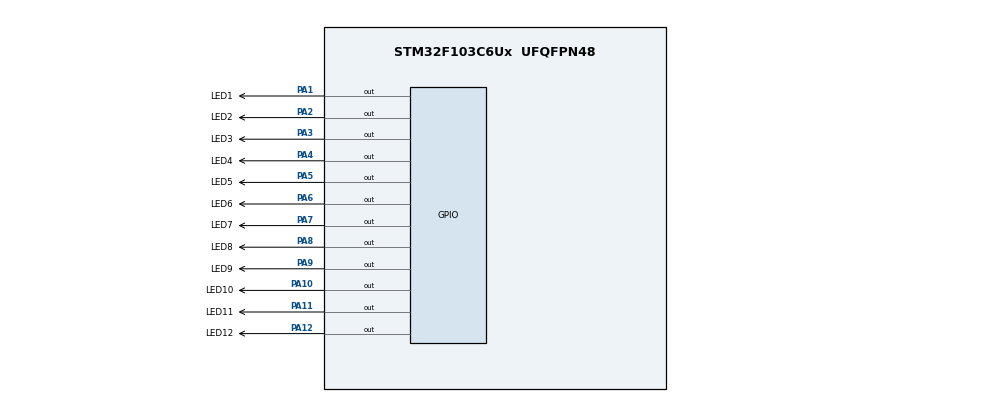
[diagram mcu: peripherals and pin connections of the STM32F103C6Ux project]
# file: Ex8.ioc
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Mcu.Family=STM32F1
Mcu.Name=STM32F103C6Ux
Mcu.Package=UFQFPN48
NVIC.PriorityGroup=NVIC_PRIORITYGROUP_4
PA1.GPIO_Label=LED1
PA1.Signal=GPIO_Output
PA10.GPIO_Label=LED10
PA10.Signal=GPIO_Output
PA11.GPIO_Label=LED11
PA11.Signal=GPIO_Output
PA12.GPIO_Label=LED12
PA12.Signal=GPIO_Output
PA2.GPIO_Label=LED2
PA2.Signal=GPIO_Output
PA3.GPIO_Label=LED3
PA3.Signal=GPIO_Output
PA4.GPIO_Label=LED4
PA4.Signal=GPIO_Output
PA5.GPIO_Label=LED5
PA5.Signal=GPIO_Output
PA6.GPIO_Label=LED6
PA6.Signal=GPIO_Output
PA7.GPIO_Label=LED7
PA7.Signal=GPIO_Output
PA8.GPIO_Label=LED8
PA8.Signal=GPIO_Output
PA9.GPIO_Label=LED9
PA9.Signal=GPIO_Output
ProjectManager.HeapSize=0x200
ProjectManager.StackSize=0x400
ProjectManager.TargetToolchain=STM32CubeIDE
RCC.APB1Freq_Value=8000000
RCC.APB2Freq_Value=8000000
VP_SYS_VS_ND.Mode=No_Debug
board=custom

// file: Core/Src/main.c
/* USER CODE BEGIN Header */
/**
  ******************************************************************************
  * @file           : main.c
  * @brief          : Main program body
  ******************************************************************************
  * @attention
  *
  * <h2><center>&copy; Copyright (c) 2023 STMicroelectronics.
  * All rights reserved.</center></h2>
  *
  * This software component is licensed by ST under BSD 3-Clause license,
  * the "License"; You may not use this file except in compliance with the
  * License. You may obtain a copy of the License at:
  *                        opensource.org/licenses/BSD-3-Clause
  *
  ******************************************************************************
  */
/* USER CODE END Header */
#include "main.h"

void SystemClock_Config(void);
static void MX_GPIO_Init(void);

/* USER CODE BEGIN 0 */
void setNumberOnClock(int num){
	switch(num){
	case 1:
		HAL_GPIO_WritePin(LED1_GPIO_Port, LED1_Pin, 1);
		break;
	case 2:
		HAL_GPIO_WritePin(LED2_GPIO_Port, LED2_Pin, 1);
		break;
	case 3:
		HAL_GPIO_WritePin(LED3_GPIO_Port, LED3_Pin, 1);
		break;
	case 4:
		HAL_GPIO_WritePin(LED4_GPIO_Port, LED4_Pin, 1);
		break;
	case 5:
		HAL_GPIO_WritePin(LED5_GPIO_Port, LED5_Pin, 1);
		break;
	case 6:
		HAL_GPIO_WritePin(LED6_GPIO_Port, LED6_Pin, 1);
		break;
	case 7:
		HAL_GPIO_WritePin(LED7_GPIO_Port, LED7_Pin, 1);
		break;
	case 8:
		HAL_GPIO_WritePin(LED8_GPIO_Port, LED8_Pin, 1);
		break;
	case 9:
		HAL_GPIO_WritePin(LED9_GPIO_Port, LED9_Pin, 1);
		break;
	case 10:
		HAL_GPIO_WritePin(LED10_GPIO_Port, LED10_Pin, 1);
		break;
	case 11:
		HAL_GPIO_WritePin(LED11_GPIO_Port, LED11_Pin, 1);
		break;
	case 0:
		HAL_GPIO_WritePin(LED12_GPIO_Port, LED12_Pin, 1);
		break;
	}
}
/* USER CODE END 0 */

int main(void)
{

  /* MCU Configuration--------------------------------------------------------*/

  /* Reset of all peripherals, Initializes the Flash interface and the Systick. */
  HAL_Init();

  /* Configure the system clock */
  SystemClock_Config();

  /* Initialize all configured peripherals */
  MX_GPIO_Init();

  /* Infinite loop */
  /* USER CODE BEGIN WHILE */
  int t = 3;
  while (1)
  {
	  if(t==0){
	  setNumberOnClock(3); // test ham
	  setNumberOnClock(8);
	  setNumberOnClock(0);
	  }
	  t--;
	  HAL_Delay(1000);
    /* USER CODE END WHILE */

  }
}

void SystemClock_Config(void)
{
  RCC_OscInitTypeDef RCC_OscInitStruct = {0};
  RCC_ClkInitTypeDef RCC_ClkInitStruct = {0};

  /** Initializes the RCC Oscillators according to the specified parameters
  * in the RCC_OscInitTypeDef structure.
  */
  RCC_OscInitStruct.OscillatorType = RCC_OSCILLATORTYPE_HSI;
  RCC_OscInitStruct.HSIState = RCC_HSI_ON;
  RCC_OscInitStruct.HSICalibrationValue = RCC_HSICALIBRATION_DEFAULT;
  RCC_OscInitStruct.PLL.PLLState = RCC_PLL_NONE;
  if (HAL_RCC_OscConfig(&RCC_OscInitStruct) != HAL_OK)
  {
    Error_Handler();
  }
  /** Initializes the CPU, AHB and APB buses clocks
  */
  RCC_ClkInitStruct.ClockType = RCC_CLOCKTYPE_HCLK|RCC_CLOCKTYPE_SYSCLK
                              |RCC_CLOCKTYPE_PCLK1|RCC_CLOCKTYPE_PCLK2;
  RCC_ClkInitStruct.SYSCLKSource = RCC_SYSCLKSOURCE_HSI;
  RCC_ClkInitStruct.AHBCLKDivider = RCC_SYSCLK_DIV1;
  RCC_ClkInitStruct.APB1CLKDivider = RCC_HCLK_DIV1;
  RCC_ClkInitStruct.APB2CLKDivider = RCC_HCLK_DIV1;

  if (HAL_RCC_ClockConfig(&RCC_ClkInitStruct, FLASH_LATENCY_0) != HAL_OK)
  {
    Error_Handler();
  }
}

static void MX_GPIO_Init(void)
{
  GPIO_InitTypeDef GPIO_InitStruct = {0};

  /* GPIO Ports Clock Enable */
  __HAL_RCC_GPIOA_CLK_ENABLE();

  /*Configure GPIO pin Output Level */
  HAL_GPIO_WritePin(GPIOA, LED1_Pin|LED2_Pin|LED3_Pin|LED4_Pin
                          |LED5_Pin|LED6_Pin|LED7_Pin|LED8_Pin
                          |LED9_Pin|LED10_Pin|LED11_Pin|LED12_Pin, GPIO_PIN_RESET);

  /*Configure GPIO pins : LED1_Pin LED2_Pin LED3_Pin LED4_Pin
                           LED5_Pin LED6_Pin LED7_Pin LED8_Pin
                           LED9_Pin LED10_Pin LED11_Pin LED12_Pin */
  GPIO_InitStruct.Pin = LED1_Pin|LED2_Pin|LED3_Pin|LED4_Pin
                          |LED5_Pin|LED6_Pin|LED7_Pin|LED8_Pin
                          |LED9_Pin|LED10_Pin|LED11_Pin|LED12_Pin;
  GPIO_InitStruct.Mode = GPIO_MODE_OUTPUT_PP;
  GPIO_InitStruct.Pull = GPIO_NOPULL;
  GPIO_InitStruct.Speed = GPIO_SPEED_FREQ_LOW;
  HAL_GPIO_Init(GPIOA, &GPIO_InitStruct);

}

void Error_Handler(void)
{
  __disable_irq();
  while (1)
  {
  }
}

/************************ (C) COPYRIGHT STMicroelectronics *****END OF FILE****/
